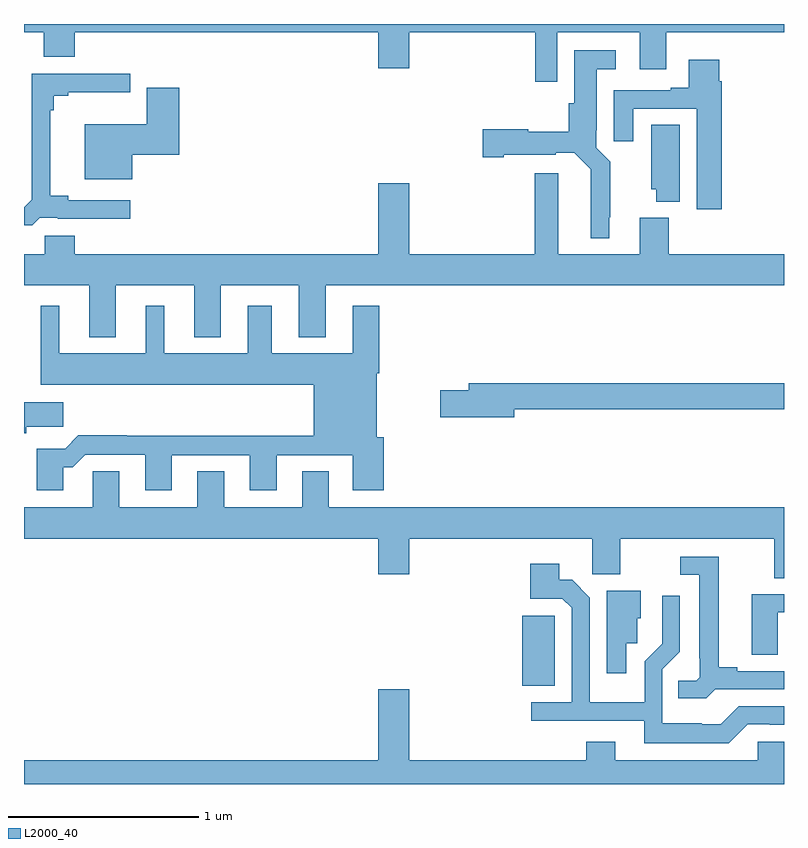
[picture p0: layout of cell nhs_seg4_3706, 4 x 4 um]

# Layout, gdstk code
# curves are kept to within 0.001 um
import gdstk
lib = gdstk.Library(unit=1e-6, precision=1e-09)
def R(c, l, rs):  # rectangles x0, y0, x1, y1
    for r in rs: c.add(gdstk.rectangle(r[:2], r[2:], *l))
def P(c, l, *ps):  # polygons
    for p in ps: c.add(gdstk.Polygon(p, *l))
L2000_40 = (2000, 40)

nhs_seg4_3706 = lib.new_cell('nhs_seg4_3706')
R(nhs_seg4_3706, L2000_40, [(309.623,757.418,309.793,757.785)])
P(nhs_seg4_3706, L2000_40, [(309.807,760.856),(310.241,760.856),(310.241,760.662),(310.381,760.662),(310.381,760.856),(311,760.856),(311,760.9),(307,760.9),(307,760.856),(307.103,760.856),(307.103,760.728),(307.267,760.728),(307.267,760.856),(308.864,760.856),(308.864,760.668),(309.028,760.668),(309.028,760.856),(309.691,760.856),(309.691,760.596),(309.807,760.596)],
  [(310.081,759.883),(310.085,759.883),(310.085,760.174),(310.011,760.248),(310.011,760.342),(310.015,760.342),(310.015,760.661),(310.114,760.661),(310.114,760.762),(309.896,760.762),(309.896,760.482),(309.866,760.482),(309.866,760.333),(309.654,760.333),(309.654,760.346),(309.414,760.346),(309.414,760.199),(309.526,760.199),(309.526,760.211),(309.798,760.211),(309.798,760.223),(309.897,760.223),(309.984,760.136),(309.983,759.773),(310.081,759.773)],
  [(310.673,760.598),(310.66,760.598),(310.66,760.711),(310.499,760.711),(310.499,760.564),(310.403,760.564),(310.403,760.551),(310.103,760.551),(310.103,760.284),(310.207,760.284),(310.207,760.455),(310.541,760.455),(310.541,759.924),(310.673,759.924)],
  [(307.083,759.879),(307.177,759.879),(307.177,759.875),(307.558,759.875),(307.558,759.972),(307.234,759.972),(307.234,759.995),(307.139,759.995),(307.139,760.445),(307.157,760.445),(307.157,760.522),(307.234,760.522),(307.234,760.541),(307.558,760.541),(307.558,760.638),(307.041,760.638),(307.041,759.975),(307.002,759.936),(307,759.936),(307,759.84),(307.043,759.84)],
  [(307.57,760.211),(307.817,760.211),(307.817,760.564),(307.646,760.564),(307.646,760.372),(307.319,760.372),(307.319,760.082),(307.57,760.082)],
  [(310.45,760.37),(310.301,760.37),(310.301,760.029),(310.328,760.029),(310.328,759.965),(310.45,759.965)],
  [(307.483,759.524),(307.895,759.524),(307.895,759.251),(308.035,759.251),(308.035,759.524),(308.447,759.524),(308.447,759.251),(308.587,759.251),(308.587,759.524),(311,759.524),(311,759.688),(310.394,759.688),(310.394,759.88),(310.241,759.88),(310.241,759.688),(309.811,759.688),(309.811,760.114),(309.689,760.114),(309.689,759.688),(309.028,759.688),(309.028,760.063),(308.864,760.063),(308.864,759.688),(307.268,759.688),(307.268,759.786),(307.108,759.786),(307.108,759.688),(307,759.688),(307,759.524),(307.343,759.524),(307.343,759.251),(307.483,759.251)],
  [(307.207,758.567),(307.256,758.567),(307.323,758.634),(307.637,758.634),(307.637,758.445),(307.777,758.445),(307.777,758.631),(308.189,758.631),(308.189,758.445),(308.329,758.445),(308.329,758.631),(308.729,758.631),(308.729,758.445),(308.894,758.445),(308.894,758.724),(308.857,758.724),(308.857,759.062),(308.87,759.062),(308.87,759.418),(308.729,759.418),(308.729,759.166),(308.305,759.166),(308.305,759.418),(308.177,759.418),(308.177,759.166),(307.738,759.166),(307.738,759.418),(307.64,759.418),(307.64,759.166),(307.186,759.166),(307.186,759.418),(307.088,759.418),(307.088,759.002),(308.525,759.002),(308.525,758.732),(307.541,758.732),(307.541,758.735),(307.286,758.735),(307.216,758.665),(307.067,758.665),(307.067,758.445),(307.207,758.445)],
  [(309.58,758.872),(311,758.872),(311,759.008),(309.341,759.008),(309.341,758.972),(309.192,758.972),(309.192,758.83),(309.58,758.83)],
  [(307.012,758.779),(307.207,758.779),(307.207,758.908),(307,758.908),(307,758.747),(307.012,758.747)],
  [(311,758.356),(308.605,758.356),(308.605,758.546),(308.465,758.546),(308.465,758.356),(308.053,758.356),(308.053,758.546),(307.913,758.546),(307.913,758.356),(307.501,758.356),(307.501,758.546),(307.362,758.546),(307.362,758.356),(307,758.356),(307,758.192),(308.864,758.192),(308.864,758.004),(309.028,758.004),(309.028,758.192),(309.99,758.192),(309.99,758.003),(310.137,758.003),(310.137,758.192),(310.949,758.192),(310.949,757.984),(311,757.984)],
  [(310.638,757.398),(311,757.398),(311,757.494),(310.753,757.494),(310.753,757.514),(310.657,757.514),(310.657,758.097),(310.455,758.097),(310.455,758.001),(310.553,758.001),(310.553,757.561),(310.557,757.561),(310.557,757.461),(310.539,757.443),(310.444,757.443),(310.444,757.351),(310.59,757.351)],
  [(310.809,757.215),(310.926,757.215),(310.926,757.212),(311,757.212),(311,757.308),(310.761,757.308),(310.668,757.215),(310.568,757.215),(310.568,757.219),(310.359,757.219),(310.359,757.503),(310.452,757.596),(310.452,757.891),(310.358,757.891),(310.358,757.638),(310.266,757.546),(310.266,757.33),(309.978,757.33),(309.978,757.881),(309.885,757.974),(309.817,757.974),(309.817,758.059),(309.665,758.059),(309.665,757.875),(309.834,757.875),(309.882,757.827),(309.882,757.329),(309.669,757.329),(309.669,757.233),(310.265,757.233),(310.265,757.115),(310.709,757.115)],
  [(310.171,757.641),(310.227,757.641),(310.227,757.773),(310.246,757.773),(310.246,757.918),(310.067,757.918),(310.067,757.482),(310.171,757.482)],
  [(310.968,757.803),(311,757.803),(311,757.899),(310.829,757.899),(310.829,757.579),(310.968,757.579)],
  [(309.028,757.399),(308.864,757.399),(308.864,757.024),(307,757.024),(307,756.9),(311,756.9),(311,757.122),(310.863,757.122),(310.863,757.024),(310.111,757.024),(310.111,757.123),(309.959,757.123),(309.959,757.024),(309.028,757.024)])

lib.write_gds('nhs_seg4_3706.gds')
